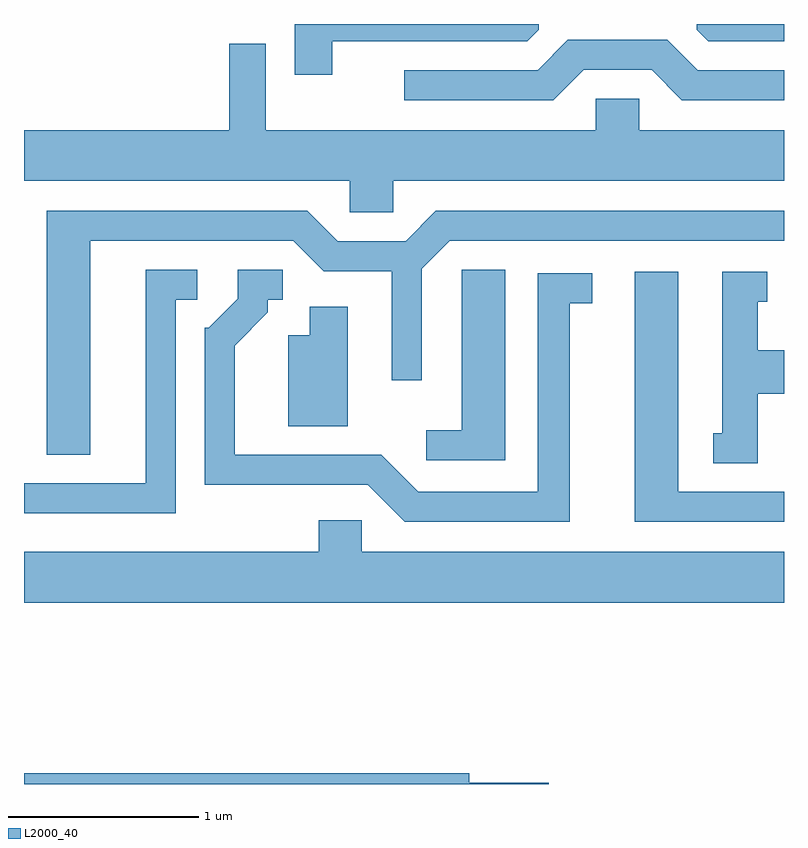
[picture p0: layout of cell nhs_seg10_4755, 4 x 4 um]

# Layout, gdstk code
import gdstk
lib = gdstk.Library(unit=1e-6, precision=1e-09)
def P(c, l, *ps):  # polygons
    for p in ps: c.add(gdstk.Polygon(p, *l))
L2000_40 = (2000, 40)

nhs_seg10_4755 = lib.new_cell('nhs_seg10_4755')
P(nhs_seg10_4755, L2000_40, [(329.611,2112.522),(329.151,2112.522),(329.151,2112.492),(329.212,2112.431),(329.611,2112.431)],
  [(327.234,2112.431),(328.259,2112.431),(328.319,2112.492),(328.319,2112.522),(327.036,2112.522),(327.036,2112.256),(327.234,2112.256)],
  [(328.557,2112.281),(328.914,2112.281),(329.074,2112.121),(329.611,2112.121),(329.611,2112.279),(329.157,2112.279),(328.997,2112.439),(328.474,2112.439),(328.314,2112.279),(327.613,2112.279),(327.613,2112.121),(328.397,2112.121)],
  [(327.554,2111.696),(329.611,2111.696),(329.611,2111.964),(328.849,2111.964),(328.849,2112.129),(328.621,2112.129),(328.621,2111.964),(326.884,2111.964),(326.884,2112.419),(326.691,2112.419),(326.691,2111.964),(325.611,2111.964),(325.611,2111.696),(327.326,2111.696),(327.326,2111.531),(327.554,2111.531)],
  [(325.959,2111.381),(327.029,2111.381),(327.189,2111.221),(327.546,2111.221),(327.546,2110.648),(327.704,2110.648),(327.704,2111.234),(327.852,2111.381),(329.611,2111.381),(329.611,2111.539),(327.779,2111.539),(327.619,2111.379),(327.262,2111.379),(327.102,2111.539),(325.731,2111.539),(325.731,2110.256),(325.959,2110.256)],
  [(328.484,2111.051),(328.603,2111.051),(328.603,2111.209),(328.316,2111.209),(328.316,2110.059),(327.687,2110.059),(327.492,2110.254),(326.719,2110.254),(326.719,2110.829),(326.894,2111.004),(326.894,2111.071),(326.973,2111.071),(326.973,2111.229),(326.736,2111.229),(326.736,2111.077),(326.584,2110.924),(326.561,2110.924),(326.561,2110.096),(327.419,2110.096),(327.614,2109.901),(328.484,2109.901)],
  [(328.144,2111.229),(327.916,2111.229),(327.916,2110.384),(327.728,2110.384),(327.728,2110.226),(328.144,2110.226)],
  [(326.409,2111.071),(326.523,2111.071),(326.523,2111.229),(326.251,2111.229),(326.251,2110.104),(325.611,2110.104),(325.611,2109.946),(326.409,2109.946)],
  [(329.474,2110.576),(329.611,2110.576),(329.611,2110.804),(329.474,2110.804),(329.474,2111.061),(329.523,2111.061),(329.523,2111.219),(329.286,2111.219),(329.286,2110.369),(329.238,2110.369),(329.238,2110.211),(329.474,2110.211)],
  [(329.611,2110.059),(329.054,2110.059),(329.054,2111.219),(328.826,2111.219),(328.826,2109.901),(329.611,2109.901)],
  [(327.314,2111.034),(327.116,2111.034),(327.116,2110.884),(327.001,2110.884),(327.001,2110.406),(327.314,2110.406)],
  [(329.611,2109.744),(327.389,2109.744),(327.389,2109.909),(327.161,2109.909),(327.161,2109.744),(325.611,2109.744),(325.611,2109.476),(329.611,2109.476)],
  [(328.374,2108.529),(327.954,2108.529),(327.954,2108.579),(325.611,2108.579),(325.611,2108.522),(328.374,2108.522)])

lib.write_gds('nhs_seg10_4755.gds')
